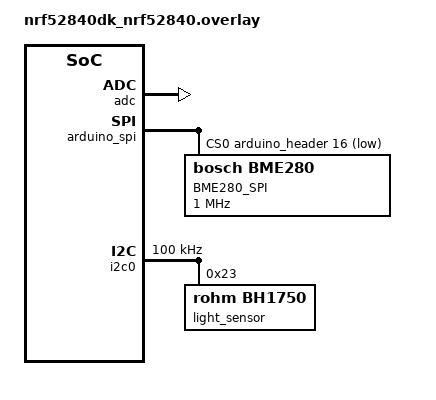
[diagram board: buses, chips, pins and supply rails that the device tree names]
// To get started, press Ctrl+Space to bring up the completion menu and view the available nodes.
// For more help, browse the DeviceTree documentation at https://docs.zephyrproject.org/latest/guides/dts/index.html

/ { 
    aliases {
    adcctrl = &adc;
    ardspi = &arduino_spi;
	watchdog = &wdt;
    button0 = &button0;
};

};

&adc {
	status = "okay";
};



&arduino_spi {
	status = "okay";
	cs-gpios = <&arduino_header 16 GPIO_ACTIVE_LOW>; /* P1.12 */
	bme280@0 {
		compatible = "bosch,bme280";
		reg = <0>;
		label = "BME280_SPI";
		spi-max-frequency = <1000000>; /* conservatively set to 1MHz */
	};
};

&i2c0 {
	clock-frequency = < I2C_BITRATE_STANDARD >;
	bh1750: bh1750@23 {
		compatible = "rohm,bh1750";
		reg = <0x23>;
		label = "light_sensor";
	};
};
